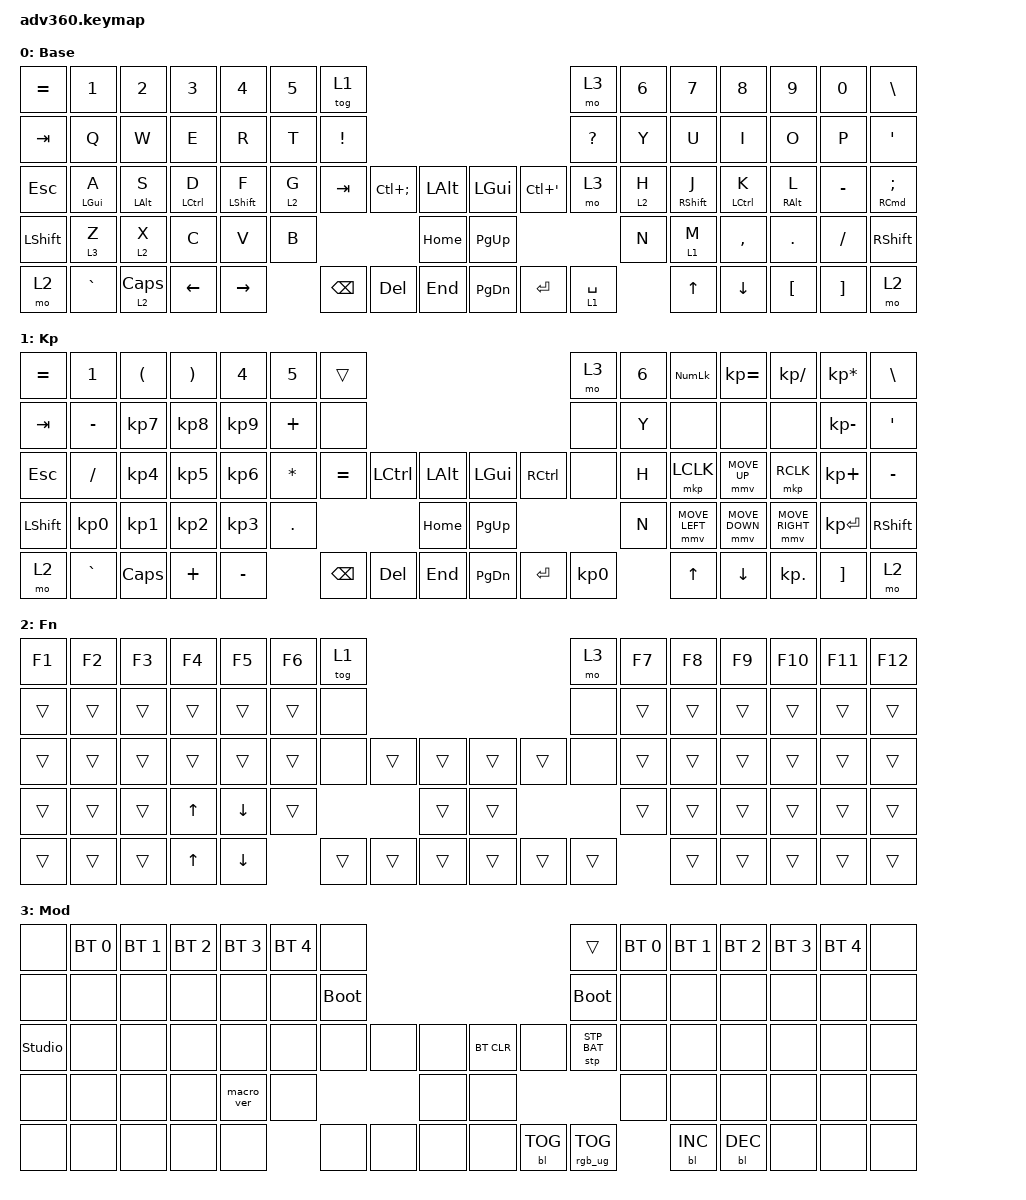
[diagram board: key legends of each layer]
#include <dt-bindings/zmk/stp.h>
#include <behaviors.dtsi>
#include <dt-bindings/zmk/backlight.h>
#include <dt-bindings/zmk/bt.h>
#include <dt-bindings/zmk/keys.h>
#include <dt-bindings/zmk/pointing.h>
#include <dt-bindings/zmk/rgb.h>

/ {
    behaviors {
        #include "macros.dtsi"
      #include "version.dtsi"

        hm: homerow_mods {
            compatible = "zmk,behavior-hold-tap";
            label = "HOMEROW_MODS";
            #binding-cells = <2>;
            tapping-term-ms = <200>;
            flavor = "tap-preferred";
            bindings = <&kp>, <&kp>;

            quick-tap-ms = <150>;
        };

        S_behavior: S_behavior {
            compatible = "zmk,behavior-hold-tap";
            label = "S_BEHAVIOR";
            bindings = <&kp>, <&kp>;

            #binding-cells = <2>;
            tapping-term-ms = <200>;
            quick-tap-ms = <150>;
            hold-trigger-key-positions = <0 1 2 3 4 5 6 7 8 9 10 11 12 13 14 15 16 18 19 20 21 22 23 24 25 26 27 28 29 30 31 32 33 34 35 36 37 38 39 40 41 42 43 44 45 46 47 48 49 50 51 52 53 54 55 56 57 58 59 60 61 62 63 64 65 66 67 68 69 70 71 72 73 74 75>;
            flavor = "tap-preferred";
        };

        win_behavior: win_behavior {
            compatible = "zmk,behavior-hold-tap";
            label = "WIN_BEHAVIOR";
            bindings = <&kp>, <&kp>;

            #binding-cells = <2>;
            tapping-term-ms = <200>;
            quick-tap-ms = <150>;
            flavor = "tap-preferred";
        };
    };

    combos {
        compatible = "zmk,combos";

        tab {
            bindings = <&kp TAB>;
            key-positions = <32 31>;
        };

        shift+tab {
            bindings = <&kp LS(TAB)>;
            key-positions = <31 30>;
        };

        katakana {
            bindings = <&kp F7>;
            key-positions = <30 29>;
        };

        eigo {
            bindings = <&kp F10>;
            key-positions = <44 43>;
        };

        home {
            bindings = <&kp HOME>;
            key-positions = <50 49>;
        };

        Ctrl+shift+right {
            bindings = <&kp LS(LC(RIGHT))>;
            key-positions = <64 63>;
        };

        Ctrl+up {
            bindings = <&kp LC(UP)>;
            key-positions = <48 47>;
        };

        Ctrl+down {
            bindings = <&kp LC(DOWN)>;
            key-positions = <62 61>;
        };

        Discord {
            bindings = <&Discord>;
            key-positions = <34 39>;
        };

        nm {
            bindings = <&nm_macro>;
            key-positions = <54 55>;
        };

        end {
            bindings = <&kp END>;
            key-positions = <56 55>;
        };

        semicolon {
            bindings = <&kp SEMI>;
            key-positions = <56 57>;
        };
    };

    macros {
        Discord: Discord {
            compatible = "zmk,behavior-macro";
            #binding-cells = <0>;
            bindings =
                <&kp LG(NUMBER_4)>,
                <&macro_wait_time 1000>,
                <&kp LC(LS(M))>;

            label = "DISCORD";
            wait-ms = <0>;
        };

        nm_macro: nm_macro {
            compatible = "zmk,behavior-macro";
            #binding-cells = <0>;
            bindings = <&kp N &kp N>;
            label = "NM_MACRO";
        };

        ka_macro: ka_macro {
            compatible = "zmk,behavior-macro";
            #binding-cells = <0>;
            bindings = <&kp K &kp A>;
            label = "KA_MACRO";
        };

        ki_macro: ki_macro {
            compatible = "zmk,behavior-macro";
            #binding-cells = <0>;
            bindings = <&kp K &kp I>;
            label = "KI_MACRO";
        };

        ku_macro: ku_macro {
            compatible = "zmk,behavior-macro";
            #binding-cells = <0>;
            bindings = <&kp K &kp U>;
            label = "KU_MACRO";
        };

        ke_macro: ke_macro {
            compatible = "zmk,behavior-macro";
            #binding-cells = <0>;
            bindings = <&kp K &kp E>;
            label = "KE_MACRO";
        };

        ko_macro: ko_macro {
            compatible = "zmk,behavior-macro";
            #binding-cells = <0>;
            bindings = <&kp K &kp O>;
            label = "KO_MACRO";
        };
    };

    keymap {
        compatible = "zmk,keymap";

        default_layer {
            display-name = "Base";
            bindings = <
&kp EQUAL  &kp N1                    &kp N2                  &kp N3              &kp N4            &kp N5   &tog 1                                                                    &mo 3         &kp N6   &kp N7             &kp N8              &kp N9           &kp N0    &kp BSLH
&kp TAB    &kp Q                     &kp W                   &kp E               &kp R             &kp T    &kp EXCLAMATION                                                           &kp QUESTION  &kp Y    &kp U              &kp I               &kp O            &kp P     &kp SQT
&kp ESC    &win_behavior LEFT_GUI A  &S_behavior LEFT_ALT S  &hm LEFT_CONTROL D  &hm LEFT_SHIFT F  &lt 2 G  &kp TAB          &kp LC(SEMI)  &kp LALT      &kp LGUI   &kp LC(SQT)  &mo 3         &lt 2 H  &hm RIGHT_SHIFT J  &hm LEFT_CONTROL K  &hm RIGHT_ALT L  &kp MINUS  &hm RIGHT_COMMAND SEMI
&kp LSHFT  &lt 3 Z                   &lt 2 X                 &kp C               &kp V             &kp B                                     &kp HOME      &kp PG_UP                                &kp N    &lt 1 M            &kp COMMA           &kp DOT          &kp FSLH  &kp RSHFT
&mo 2      &kp GRAVE                 &lt 2 CAPS              &kp LEFT            &kp RIGHT                  &kp BSPC         &kp DEL         &kp END       &kp PG_DN  &kp ENTER       &lt 1 SPACE            &kp UP             &kp DOWN            &kp LBKT         &kp RBKT  &mo 2
            >;
        };

        keypad {
            display-name = "Kp";
            bindings = <
&kp EQUAL  &kp N1           &kp LEFT_PARENTHESIS  &kp RIGHT_PARENTHESIS  &kp N4           &kp N5     &trans                                                    &mo 3      &kp N6  &kp KP_NUM      &kp KP_EQUAL    &kp KP_DIVIDE    &kp KP_MULTIPLY  &kp BSLH
&kp TAB    &kp MINUS        &kp KP_N7             &kp KP_NUMBER_8        &kp KP_NUMBER_9  &kp PLUS   &none                                                     &none      &kp Y   &none           &none           &none            &kp KP_MINUS     &kp SQT
&kp ESC    &kp SLASH        &kp KP_NUMBER_4       &kp KP_NUMBER_5        &kp KP_N6        &kp ASTRK  &kp EQUAL  &kp LCTRL  &kp LALT      &kp LGUI   &kp RCTRL  &none      &kp H   &mkp LCLK       &mmv MOVE_UP    &mkp RCLK        &kp KP_PLUS      &kp MINUS
&kp LSHFT  &kp KP_NUMBER_0  &kp KP_N1             &kp KP_N2              &kp KP_NUMBER_3  &kp DOT                          &kp HOME      &kp PG_UP                        &kp N   &mmv MOVE_LEFT  &mmv MOVE_DOWN  &mmv MOVE_RIGHT  &kp KP_ENTER     &kp RSHFT
&mo 2      &kp GRAVE        &kp CAPS              &kp PLUS               &kp MINUS                   &kp BSPC   &kp DEL    &kp END       &kp PG_DN  &kp ENTER  &kp KP_N0          &kp UP          &kp DOWN        &kp KP_DOT       &kp RBKT         &mo 2
            >;
        };

        fn {
            display-name = "Fn";
            bindings = <
&kp F1  &kp F2  &kp F3  &kp F4        &kp F5          &kp F6  &tog 1                                      &mo 3   &kp F7  &kp F8  &kp F9  &kp F10  &kp F11  &kp F12
&trans  &trans  &trans  &trans        &trans          &trans  &none                                       &none   &trans  &trans  &trans  &trans   &trans   &trans
&trans  &trans  &trans  &trans        &trans          &trans  &none   &trans  &trans      &trans  &trans  &none   &trans  &trans  &trans  &trans   &trans   &trans
&trans  &trans  &trans  &kp UP_ARROW  &kp DOWN        &trans                  &trans      &trans                  &trans  &trans  &trans  &trans   &trans   &trans
&trans  &trans  &trans  &kp UP_ARROW  &kp DOWN_ARROW          &trans  &trans  &trans      &trans  &trans  &trans          &trans  &trans  &trans   &trans   &trans
            >;
        };

        mod {
            display-name = "Mod";
            bindings = <
&none           &bt BT_SEL 0  &bt BT_SEL 1  &bt BT_SEL 2  &bt BT_SEL 3  &bt BT_SEL 4  &none                                                  &trans           &bt BT_SEL 0  &bt BT_SEL 1  &bt BT_SEL 2  &bt BT_SEL 3  &bt BT_SEL 4  &none
&none           &none         &none         &none         &none         &none         &bootloader                                            &bootloader      &none  &none       &none       &none  &none  &none
&studio_unlock  &none         &none         &none         &none         &none         &none        &none  &none      &bt BT_CLR  &none       &stp STP_BAT     &none  &none       &none       &none  &none  &none
&none           &none         &none         &none         &macro_ver    &none                             &none      &none                                    &none  &none       &none       &none  &none  &none
&none           &none         &none         &none         &none                       &none        &none  &none      &none       &bl BL_TOG  &rgb_ug RGB_TOG         &bl BL_INC  &bl BL_DEC  &none  &none  &none
            >;
        };
    };
};
